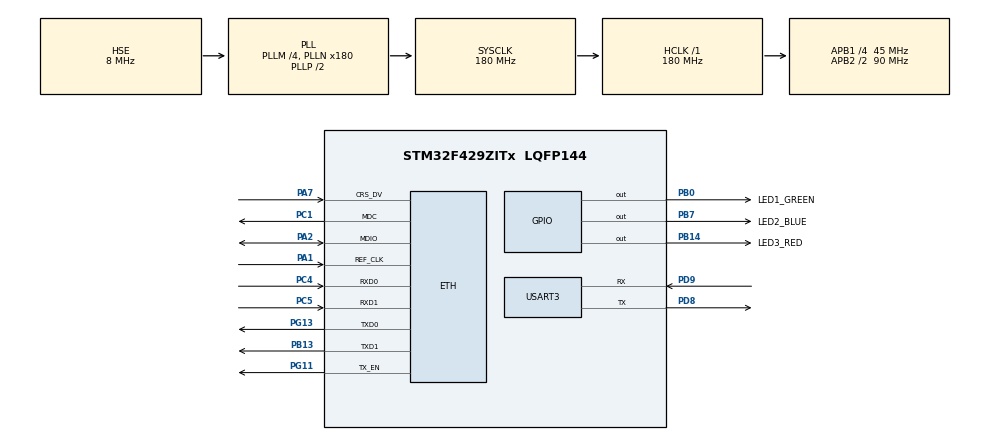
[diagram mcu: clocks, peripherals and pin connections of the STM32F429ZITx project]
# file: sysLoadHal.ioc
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ETH.MediaInterface=HAL_ETH_RMII_MODE
Mcu.Family=STM32F4
Mcu.Name=STM32F429ZITx
Mcu.Package=LQFP144
NVIC.ETH_IRQn=true\:0\:0\:false\:false\:true\:true\:true\:true
NVIC.PriorityGroup=NVIC_PRIORITYGROUP_4
PA1.Mode=RMII
PA1.Signal=ETH_REF_CLK
PA13.Mode=Trace_Asynchronous_SW
PA13.Signal=SYS_JTMS-SWDIO
PA14.Mode=Trace_Asynchronous_SW
PA14.Signal=SYS_JTCK-SWCLK
PA2.Mode=RMII
PA2.Signal=ETH_MDIO
PA7.Mode=RMII
PA7.Signal=ETH_CRS_DV
PB0.GPIO_Label=LED1_GREEN
PB0.Signal=GPIO_Output
PB13.Mode=RMII
PB13.Signal=ETH_TXD1
PB14.GPIO_Label=LED3_RED
PB14.Signal=GPIO_Output
PB3.Mode=Trace_Asynchronous_SW
PB3.Signal=SYS_JTDO-SWO
PB7.GPIO_Label=LED2_BLUE
PB7.Signal=GPIO_Output
PC1.Mode=RMII
PC1.Signal=ETH_MDC
PC4.Mode=RMII
PC4.Signal=ETH_RXD0
PC5.Mode=RMII
PC5.Signal=ETH_RXD1
PD8.Mode=Asynchronous
PD8.Signal=USART3_TX
PD9.Mode=Asynchronous
PD9.Signal=USART3_RX
PG11.Mode=RMII
PG11.Signal=ETH_TX_EN
PG13.Mode=RMII
PG13.Signal=ETH_TXD0
PH0/OSC_IN.Mode=HSE-External-Oscillator
PH0/OSC_IN.Signal=RCC_OSC_IN
PH1/OSC_OUT.Mode=HSE-External-Oscillator
PH1/OSC_OUT.Signal=RCC_OSC_OUT
ProjectManager.HeapSize=0x200
ProjectManager.StackSize=0x400
ProjectManager.TargetToolchain=Makefile
RCC.48MHZClocksFreq_Value=90000000
RCC.AHBFreq_Value=180000000
RCC.APB1CLKDivider=RCC_HCLK_DIV4
RCC.APB1Freq_Value=45000000
RCC.APB1TimFreq_Value=90000000
RCC.APB2CLKDivider=RCC_HCLK_DIV2
RCC.APB2Freq_Value=90000000
RCC.APB2TimFreq_Value=180000000
RCC.CortexFreq_Value=180000000
RCC.HCLKFreq_Value=180000000
RCC.HSE_VALUE=8000000
RCC.HSI_VALUE=16000000
RCC.LSE_VALUE=32768
RCC.PLLM=4
RCC.PLLN=180
RCC.PLLSourceVirtual=RCC_PLLSOURCE_HSE
RCC.SYSCLKFreq_VALUE=180000000
RCC.SYSCLKSource=RCC_SYSCLKSOURCE_PLLCLK
RCC.VCOOutputFreq_Value=360000000
USART3.VirtualMode=VM_ASYNC
board=custom

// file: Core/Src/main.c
/* USER CODE BEGIN Header */
/**
  ******************************************************************************
  * @file           : main.c
  * @brief          : Main program body
  ******************************************************************************
  * @attention
  *
  * Copyright (c) 2023 STMicroelectronics.
  * All rights reserved.
  *
  * This software is licensed under terms that can be found in the LICENSE file
  * in the root directory of this software component.
  * If no LICENSE file comes with this software, it is provided AS-IS.
  *
  ******************************************************************************
  */
/* USER CODE END Header */
#include "main.h"
#include "string.h"

/* USER CODE BEGIN Includes */

#include "mongoose.h"

/* USER CODE END Includes */

ETH_TxPacketConfig TxConfig;
ETH_DMADescTypeDef  DMARxDscrTab[ETH_RX_DESC_CNT]; /* Ethernet Rx DMA Descriptors */
ETH_DMADescTypeDef  DMATxDscrTab[ETH_TX_DESC_CNT]; /* Ethernet Tx DMA Descriptors */

ETH_HandleTypeDef heth;

UART_HandleTypeDef huart3;

void SystemClock_Config(void);
static void MX_GPIO_Init(void);
static void MX_ETH_Init(void);
static void MX_USART3_UART_Init(void);

/* USER CODE BEGIN 0 */
uint64_t mg_millis(void){
  return HAL_GetTick();
}

int _write(int fd, char *ptr, int len) {
  (void) fd, (void) ptr, (void) len;
  if (fd == 1) HAL_UART_Transmit(&huart3, ptr, len ,1000 );
  return -1;
}

int mkdir(const char *path, mode_t mode) {
  (void) path, (void) mode;
  return -1;
}

static void blink_cb(void *arg) {  // Blink periodically
  // MG_INFO(("ticks: %u", (unsigned) s_ticks));
  HAL_GPIO_TogglePin(LED2_BLUE_GPIO_Port, LED2_BLUE_Pin);
  (void) arg;
}

static void fn(struct mg_connection *c, int ev, void *ev_data,
                         void *fn_data){
  if (ev = MG_EV_HTTP_MSG) {mg_http_reply(c, 200, "", "ok\n");}

  /* data */
};

/* USER CODE END 0 */

int main(void)

{

  /* MCU Configuration--------------------------------------------------------*/

  /* Reset of all peripherals, Initializes the Flash interface and the Systick. */
  HAL_Init();

  /* Configure the system clock */
  SystemClock_Config();

  /* Initialize all configured peripherals */
  MX_GPIO_Init();
  MX_ETH_Init();
  MX_USART3_UART_Init();
  /* USER CODE BEGIN 2 */

  struct mg_mgr mgr;        // Initialise Mongoose event manager
  mg_mgr_init(&mgr);        // and attach it to the MIP interface
  mg_log_set(MG_LL_DEBUG);  // Set log level
  mg_timer_add(&mgr, 500, MG_TIMER_REPEAT, blink_cb, &mgr);

  // Initialise Mongoose network stack
  // Specify MAC address, and IP/mask/GW in network byte order for static
  // IP configuration. If IP/mask/GW are unset, DHCP is going to be used
  struct mip_driver_stm32_data driver_data = {.mdc_cr = 4};  // See driver_stm32.h
  struct mip_if mif = {
      .mac = {2, 0, 1, 2, 3, 5},
      .driver = &mip_driver_stm32,
      .driver_data = &driver_data,
  };
  mip_init(&mgr, &mif);

  MG_INFO(("Init done, starting main loop"));

  extern void device_dashboard_fn(struct mg_connection *, int, void *, void *);
  mg_http_listen(&mgr, "http://0.0.0.0", device_dashboard_fn, &mgr);
  for (;;) mg_mgr_poll(&mgr, 0);  // Infinite event loop

  /* USER CODE END 2 */

  /* Infinite loop */
  while (1)
  {

    /* USER CODE BEGIN 3 */
    HAL_GPIO_TogglePin(LED1_GREEN_GPIO_Port, LED1_GREEN_Pin);
    HAL_Delay(500);
    printf("hi 2\r\n");

  }
  /* USER CODE END 3 */
}

void SystemClock_Config(void)
{
  RCC_OscInitTypeDef RCC_OscInitStruct = {0};
  RCC_ClkInitTypeDef RCC_ClkInitStruct = {0};

  /** Configure the main internal regulator output voltage
  */
  __HAL_RCC_PWR_CLK_ENABLE();
  __HAL_PWR_VOLTAGESCALING_CONFIG(PWR_REGULATOR_VOLTAGE_SCALE1);

  /** Initializes the RCC Oscillators according to the specified parameters
  * in the RCC_OscInitTypeDef structure.
  */
  RCC_OscInitStruct.OscillatorType = RCC_OSCILLATORTYPE_HSE;
  RCC_OscInitStruct.HSEState = RCC_HSE_ON;
  RCC_OscInitStruct.PLL.PLLState = RCC_PLL_ON;
  RCC_OscInitStruct.PLL.PLLSource = RCC_PLLSOURCE_HSE;
  RCC_OscInitStruct.PLL.PLLM = 4;
  RCC_OscInitStruct.PLL.PLLN = 180;
  RCC_OscInitStruct.PLL.PLLP = RCC_PLLP_DIV2;
  RCC_OscInitStruct.PLL.PLLQ = 4;
  if (HAL_RCC_OscConfig(&RCC_OscInitStruct) != HAL_OK)
  {
    Error_Handler();
  }

  /** Activate the Over-Drive mode
  */
  if (HAL_PWREx_EnableOverDrive() != HAL_OK)
  {
    Error_Handler();
  }

  /** Initializes the CPU, AHB and APB buses clocks
  */
  RCC_ClkInitStruct.ClockType = RCC_CLOCKTYPE_HCLK|RCC_CLOCKTYPE_SYSCLK
                              |RCC_CLOCKTYPE_PCLK1|RCC_CLOCKTYPE_PCLK2;
  RCC_ClkInitStruct.SYSCLKSource = RCC_SYSCLKSOURCE_PLLCLK;
  RCC_ClkInitStruct.AHBCLKDivider = RCC_SYSCLK_DIV1;
  RCC_ClkInitStruct.APB1CLKDivider = RCC_HCLK_DIV4;
  RCC_ClkInitStruct.APB2CLKDivider = RCC_HCLK_DIV2;

  if (HAL_RCC_ClockConfig(&RCC_ClkInitStruct, FLASH_LATENCY_5) != HAL_OK)
  {
    Error_Handler();
  }
}

static void MX_ETH_Init(void)
{

   static uint8_t MACAddr[6];

  heth.Instance = ETH;
  MACAddr[0] = 0x00;
  MACAddr[1] = 0x80;
  MACAddr[2] = 0xE1;
  MACAddr[3] = 0x00;
  MACAddr[4] = 0x00;
  MACAddr[5] = 0x00;
  heth.Init.MACAddr = &MACAddr[0];
  heth.Init.MediaInterface = HAL_ETH_RMII_MODE;
  heth.Init.TxDesc = DMATxDscrTab;
  heth.Init.RxDesc = DMARxDscrTab;
  heth.Init.RxBuffLen = 1524;

  if (HAL_ETH_Init(&heth) != HAL_OK)
  {
    Error_Handler();
  }

  memset(&TxConfig, 0 , sizeof(ETH_TxPacketConfig));
  TxConfig.Attributes = ETH_TX_PACKETS_FEATURES_CSUM | ETH_TX_PACKETS_FEATURES_CRCPAD;
  TxConfig.ChecksumCtrl = ETH_CHECKSUM_IPHDR_PAYLOAD_INSERT_PHDR_CALC;
  TxConfig.CRCPadCtrl = ETH_CRC_PAD_INSERT;

}

static void MX_USART3_UART_Init(void)
{

  huart3.Instance = USART3;
  huart3.Init.BaudRate = 115200;
  huart3.Init.WordLength = UART_WORDLENGTH_8B;
  huart3.Init.StopBits = UART_STOPBITS_1;
  huart3.Init.Parity = UART_PARITY_NONE;
  huart3.Init.Mode = UART_MODE_TX_RX;
  huart3.Init.HwFlowCtl = UART_HWCONTROL_NONE;
  huart3.Init.OverSampling = UART_OVERSAMPLING_16;
  if (HAL_UART_Init(&huart3) != HAL_OK)
  {
    Error_Handler();
  }

}

static void MX_GPIO_Init(void)
{
  GPIO_InitTypeDef GPIO_InitStruct = {0};

  /* GPIO Ports Clock Enable */
  __HAL_RCC_GPIOH_CLK_ENABLE();
  __HAL_RCC_GPIOC_CLK_ENABLE();
  __HAL_RCC_GPIOA_CLK_ENABLE();
  __HAL_RCC_GPIOB_CLK_ENABLE();
  __HAL_RCC_GPIOD_CLK_ENABLE();
  __HAL_RCC_GPIOG_CLK_ENABLE();

  /*Configure GPIO pin Output Level */
  HAL_GPIO_WritePin(GPIOB, LED1_GREEN_Pin|LED3_RED_Pin|LED2_BLUE_Pin, GPIO_PIN_RESET);

  /*Configure GPIO pins : LED1_GREEN_Pin LED3_RED_Pin LED2_BLUE_Pin */
  GPIO_InitStruct.Pin = LED1_GREEN_Pin|LED3_RED_Pin|LED2_BLUE_Pin;
  GPIO_InitStruct.Mode = GPIO_MODE_OUTPUT_PP;
  GPIO_InitStruct.Pull = GPIO_NOPULL;
  GPIO_InitStruct.Speed = GPIO_SPEED_FREQ_LOW;
  HAL_GPIO_Init(GPIOB, &GPIO_InitStruct);

}

void Error_Handler(void)
{
  __disable_irq();
  while (1)
  {
  }
}
